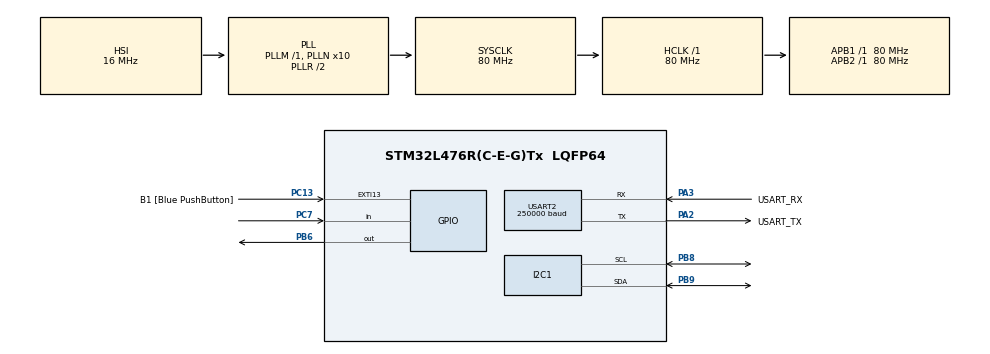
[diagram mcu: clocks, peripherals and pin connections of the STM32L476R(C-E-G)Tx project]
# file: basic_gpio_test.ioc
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I2C1.Timing=0x10D19CE4
Mcu.Family=STM32L4
Mcu.Name=STM32L476R(C-E-G)Tx
Mcu.Package=LQFP64
NVIC.PriorityGroup=NVIC_PRIORITYGROUP_4
PA13\ (JTMS-SWDIO).GPIO_Label=TMS
PA13\ (JTMS-SWDIO).Mode=Serial_Wire
PA13\ (JTMS-SWDIO).Signal=SYS_JTMS-SWDIO
PA14\ (JTCK-SWCLK).GPIO_Label=TCK
PA14\ (JTCK-SWCLK).Mode=Serial_Wire
PA14\ (JTCK-SWCLK).Signal=SYS_JTCK-SWCLK
PA2.GPIO_Label=USART_TX
PA2.GPIO_Mode=GPIO_MODE_AF_PP
PA2.GPIO_PuPd=GPIO_NOPULL
PA2.GPIO_Speed=GPIO_SPEED_FREQ_VERY_HIGH
PA2.Mode=Asynchronous
PA2.Signal=USART2_TX
PA3.GPIO_Label=USART_RX
PA3.GPIO_Mode=GPIO_MODE_AF_PP
PA3.GPIO_PuPd=GPIO_NOPULL
PA3.GPIO_Speed=GPIO_SPEED_FREQ_VERY_HIGH
PA3.Mode=Asynchronous
PA3.Signal=USART2_RX
PA5.Signal=SPI1_SCK
PA6.Signal=SPI1_MISO
PA7.Signal=SPI1_MOSI
PB3\ (JTDO-TRACESWO).GPIO_Label=SWO
PB3\ (JTDO-TRACESWO).Signal=SYS_JTDO-SWO
PB6.GPIO_PuPd=GPIO_PULLUP
PB6.Signal=GPIO_Output
PB8.Mode=I2C
PB8.Signal=I2C1_SCL
PB9.Mode=I2C
PB9.Signal=I2C1_SDA
PC13.GPIO_Label=B1 [Blue PushButton]
PC13.GPIO_ModeDefaultEXTI=GPIO_MODE_IT_FALLING
PC13.GPIO_PuPd=GPIO_NOPULL
PC13.Signal=GPXTI13
PC14-OSC32_IN\ (PC14).Mode=LSE-External-Oscillator
PC14-OSC32_IN\ (PC14).Signal=RCC_OSC32_IN
PC15-OSC32_OUT\ (PC15).Mode=LSE-External-Oscillator
PC15-OSC32_OUT\ (PC15).Signal=RCC_OSC32_OUT
PC7.Signal=GPIO_Input
PH0-OSC_IN\ (PH0).Mode=HSE-External-Oscillator
PH0-OSC_IN\ (PH0).Signal=RCC_OSC_IN
PH1-OSC_OUT\ (PH1).Mode=HSE-External-Oscillator
PH1-OSC_OUT\ (PH1).Signal=RCC_OSC_OUT
ProjectManager.HeapSize=0x200
ProjectManager.StackSize=0x400
ProjectManager.TargetToolchain=STM32CubeIDE
RCC.ADCFreq_Value=64000000
RCC.AHBFreq_Value=80000000
RCC.APB1Freq_Value=80000000
RCC.APB1TimFreq_Value=80000000
RCC.APB2Freq_Value=80000000
RCC.APB2TimFreq_Value=80000000
RCC.CortexFreq_Value=80000000
RCC.HCLKFreq_Value=80000000
RCC.HSE_VALUE=8000000
RCC.HSI_VALUE=16000000
RCC.MSI_VALUE=4000000
RCC.PLLN=10
RCC.PLLSourceVirtual=RCC_PLLSOURCE_HSI
RCC.PREFETCH_ENABLE=1
RCC.SYSCLKFreq_VALUE=80000000
RCC.SYSCLKSource=RCC_SYSCLKSOURCE_PLLCLK
RCC.USBFreq_Value=64000000
RCC.VCOOutputFreq_Value=160000000
TIM2.AutoReloadPreload=TIM_AUTORELOAD_PRELOAD_ENABLE
TIM2.Period=65535
TIM2.Prescaler=26
USART2.BaudRate=250000
USART2.VirtualMode-Asynchronous=VM_ASYNC
VP_TIM2_VS_ClockSourceINT.Mode=Internal
board=NUCLEO-L476RG

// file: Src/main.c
/* USER CODE BEGIN Header */
/**
  ******************************************************************************
  * @file           : main.c
  * @brief          : Main program body
  ******************************************************************************
  * @attention
  *
  * Copyright (c) 2026 STMicroelectronics.
  * All rights reserved.
  *
  * This software is licensed under terms that can be found in the LICENSE file
  * in the root directory of this software component.
  * If no LICENSE file comes with this software, it is provided AS-IS.
  *
  ******************************************************************************
  */
/* USER CODE END Header */
#include "main.h"

/* USER CODE BEGIN Includes */
#include <stdio.h>
/* USER CODE END Includes */

I2C_HandleTypeDef hi2c1;

TIM_HandleTypeDef htim2;

UART_HandleTypeDef huart2;

void SystemClock_Config(void);
static void MX_GPIO_Init(void);
static void MX_USART2_UART_Init(void);
static void MX_TIM2_Init(void);
static void MX_I2C1_Init(void);
/* USER CODE BEGIN PFP */
#define PUTCHAR_PROTOTYPE int __io_putchar(int ch)
/* USER CODE END PFP */

/* USER CODE BEGIN 0 */

// Function you can use to find the address of the MLX90640 currently connected
uint16_t findAddress(uint16_t);

void doEarthHorizonTest();

/* USER CODE END 0 */

int main(void)
{

  /* MCU Configuration--------------------------------------------------------*/

  /* Reset of all peripherals, Initializes the Flash interface and the Systick. */
  HAL_Init();

  /* Configure the system clock */
  SystemClock_Config();

  /* Initialize all configured peripherals */
  MX_GPIO_Init();
  MX_USART2_UART_Init();
  MX_TIM2_Init();
  MX_I2C1_Init();
  /* USER CODE BEGIN 2 */

  printf("Begin attempt.\n");

//  HAL_GPIO_WritePin(GPIOB, GPIO_PIN_6, GPIO_PIN_SET);
//
//  HAL_SPI_StateTypeDef status;
//
//  status = HAL_SPI_GetState(&hspi1);
//  printf("Status: %d\n", status);
//
//  HAL_GPIO_WritePin(GPIOB, GPIO_PIN_6, GPIO_PIN_RESET);
//
//  uint8_t address = 0x35;
//  uint8_t buffer[10] = {13, 13, 13, 13, 13, 13, 13, 13, 13, 13};
//  status = HAL_SPI_Transmit(&hspi1, &address, 1, 100);
//  printf("Status SPI Transmit: %d\n", status);
//  status = HAL_SPI_Receive(&hspi1, buffer, 1, 100);
//  printf("Status of SPI Receive: %d\n", status);
//  for(int i=0;i<10;i++) {
//	  printf("buffer[%d]=%X\n", i, buffer[i]);
//  }

  printf("End attempt.\n\n");
  /* USER CODE END 2 */

  /* Infinite loop */
  while (1)
  {
	  printf("Hello!!!!\n");
	  doEarthHorizonTest();
	  HAL_Delay(10);
  }
}

void SystemClock_Config(void)
{
  RCC_OscInitTypeDef RCC_OscInitStruct = {0};
  RCC_ClkInitTypeDef RCC_ClkInitStruct = {0};

  /** Configure the main internal regulator output voltage
  */
  if (HAL_PWREx_ControlVoltageScaling(PWR_REGULATOR_VOLTAGE_SCALE1) != HAL_OK)
  {
    Error_Handler();
  }

  /** Initializes the RCC Oscillators according to the specified parameters
  * in the RCC_OscInitTypeDef structure.
  */
  RCC_OscInitStruct.OscillatorType = RCC_OSCILLATORTYPE_HSI;
  RCC_OscInitStruct.HSIState = RCC_HSI_ON;
  RCC_OscInitStruct.HSICalibrationValue = RCC_HSICALIBRATION_DEFAULT;
  RCC_OscInitStruct.PLL.PLLState = RCC_PLL_ON;
  RCC_OscInitStruct.PLL.PLLSource = RCC_PLLSOURCE_HSI;
  RCC_OscInitStruct.PLL.PLLM = 1;
  RCC_OscInitStruct.PLL.PLLN = 10;
  RCC_OscInitStruct.PLL.PLLP = RCC_PLLP_DIV7;
  RCC_OscInitStruct.PLL.PLLQ = RCC_PLLQ_DIV2;
  RCC_OscInitStruct.PLL.PLLR = RCC_PLLR_DIV2;
  if (HAL_RCC_OscConfig(&RCC_OscInitStruct) != HAL_OK)
  {
    Error_Handler();
  }

  /** Initializes the CPU, AHB and APB buses clocks
  */
  RCC_ClkInitStruct.ClockType = RCC_CLOCKTYPE_HCLK|RCC_CLOCKTYPE_SYSCLK
                              |RCC_CLOCKTYPE_PCLK1|RCC_CLOCKTYPE_PCLK2;
  RCC_ClkInitStruct.SYSCLKSource = RCC_SYSCLKSOURCE_PLLCLK;
  RCC_ClkInitStruct.AHBCLKDivider = RCC_SYSCLK_DIV1;
  RCC_ClkInitStruct.APB1CLKDivider = RCC_HCLK_DIV1;
  RCC_ClkInitStruct.APB2CLKDivider = RCC_HCLK_DIV1;

  if (HAL_RCC_ClockConfig(&RCC_ClkInitStruct, FLASH_LATENCY_4) != HAL_OK)
  {
    Error_Handler();
  }
}

static void MX_I2C1_Init(void)
{

  hi2c1.Instance = I2C1;
  hi2c1.Init.Timing = 0x10D19CE4;
  hi2c1.Init.OwnAddress1 = 0;
  hi2c1.Init.AddressingMode = I2C_ADDRESSINGMODE_7BIT;
  hi2c1.Init.DualAddressMode = I2C_DUALADDRESS_DISABLE;
  hi2c1.Init.OwnAddress2 = 0;
  hi2c1.Init.OwnAddress2Masks = I2C_OA2_NOMASK;
  hi2c1.Init.GeneralCallMode = I2C_GENERALCALL_DISABLE;
  hi2c1.Init.NoStretchMode = I2C_NOSTRETCH_DISABLE;
  if (HAL_I2C_Init(&hi2c1) != HAL_OK)
  {
    Error_Handler();
  }

  /** Configure Analogue filter
  */
  if (HAL_I2CEx_ConfigAnalogFilter(&hi2c1, I2C_ANALOGFILTER_ENABLE) != HAL_OK)
  {
    Error_Handler();
  }

  /** Configure Digital filter
  */
  if (HAL_I2CEx_ConfigDigitalFilter(&hi2c1, 0) != HAL_OK)
  {
    Error_Handler();
  }

}

static void MX_TIM2_Init(void)
{

  TIM_ClockConfigTypeDef sClockSourceConfig = {0};
  TIM_MasterConfigTypeDef sMasterConfig = {0};

  htim2.Instance = TIM2;
  htim2.Init.Prescaler = 26;
  htim2.Init.CounterMode = TIM_COUNTERMODE_UP;
  htim2.Init.Period = 65535;
  htim2.Init.ClockDivision = TIM_CLOCKDIVISION_DIV1;
  htim2.Init.AutoReloadPreload = TIM_AUTORELOAD_PRELOAD_ENABLE;
  if (HAL_TIM_Base_Init(&htim2) != HAL_OK)
  {
    Error_Handler();
  }
  sClockSourceConfig.ClockSource = TIM_CLOCKSOURCE_INTERNAL;
  if (HAL_TIM_ConfigClockSource(&htim2, &sClockSourceConfig) != HAL_OK)
  {
    Error_Handler();
  }
  sMasterConfig.MasterOutputTrigger = TIM_TRGO_RESET;
  sMasterConfig.MasterSlaveMode = TIM_MASTERSLAVEMODE_DISABLE;
  if (HAL_TIMEx_MasterConfigSynchronization(&htim2, &sMasterConfig) != HAL_OK)
  {
    Error_Handler();
  }

}

static void MX_USART2_UART_Init(void)
{

  huart2.Instance = USART2;
  huart2.Init.BaudRate = 250000;
  huart2.Init.WordLength = UART_WORDLENGTH_8B;
  huart2.Init.StopBits = UART_STOPBITS_1;
  huart2.Init.Parity = UART_PARITY_NONE;
  huart2.Init.Mode = UART_MODE_TX_RX;
  huart2.Init.HwFlowCtl = UART_HWCONTROL_NONE;
  huart2.Init.OverSampling = UART_OVERSAMPLING_16;
  huart2.Init.OneBitSampling = UART_ONE_BIT_SAMPLE_DISABLE;
  huart2.AdvancedInit.AdvFeatureInit = UART_ADVFEATURE_NO_INIT;
  if (HAL_UART_Init(&huart2) != HAL_OK)
  {
    Error_Handler();
  }

}

static void MX_GPIO_Init(void)
{
  GPIO_InitTypeDef GPIO_InitStruct = {0};

  /* GPIO Ports Clock Enable */
  __HAL_RCC_GPIOC_CLK_ENABLE();
  __HAL_RCC_GPIOH_CLK_ENABLE();
  __HAL_RCC_GPIOA_CLK_ENABLE();
  __HAL_RCC_GPIOB_CLK_ENABLE();

  /*Configure GPIO pin Output Level */
  HAL_GPIO_WritePin(GPIOB, GPIO_PIN_6, GPIO_PIN_RESET);

  /*Configure GPIO pin : B1_Pin */
  GPIO_InitStruct.Pin = B1_Pin;
  GPIO_InitStruct.Mode = GPIO_MODE_IT_FALLING;
  GPIO_InitStruct.Pull = GPIO_NOPULL;
  HAL_GPIO_Init(B1_GPIO_Port, &GPIO_InitStruct);

  /*Configure GPIO pins : PA5 PA6 PA7 */
  GPIO_InitStruct.Pin = GPIO_PIN_5|GPIO_PIN_6|GPIO_PIN_7;
  GPIO_InitStruct.Mode = GPIO_MODE_AF_PP;
  GPIO_InitStruct.Pull = GPIO_NOPULL;
  GPIO_InitStruct.Speed = GPIO_SPEED_FREQ_VERY_HIGH;
  GPIO_InitStruct.Alternate = GPIO_AF5_SPI1;
  HAL_GPIO_Init(GPIOA, &GPIO_InitStruct);

  /*Configure GPIO pin : PC7 */
  GPIO_InitStruct.Pin = GPIO_PIN_7;
  GPIO_InitStruct.Mode = GPIO_MODE_INPUT;
  GPIO_InitStruct.Pull = GPIO_NOPULL;
  HAL_GPIO_Init(GPIOC, &GPIO_InitStruct);

  /*Configure GPIO pin : PB6 */
  GPIO_InitStruct.Pin = GPIO_PIN_6;
  GPIO_InitStruct.Mode = GPIO_MODE_OUTPUT_PP;
  GPIO_InitStruct.Pull = GPIO_PULLUP;
  GPIO_InitStruct.Speed = GPIO_SPEED_FREQ_LOW;
  HAL_GPIO_Init(GPIOB, &GPIO_InitStruct);

  /* USER CODE BEGIN MX_GPIO_Init_2 */
  HAL_GPIO_WritePin(GPIOB, GPIO_PIN_6, GPIO_PIN_RESET);
  /* USER CODE END MX_GPIO_Init_2 */
}

/* USER CODE BEGIN 4 */

void doEarthHorizonTest() {
  uint8_t start_up_check = 0;

  printf("Start of new attempt.\n");

  uint16_t address = 0x33;

  if(HAL_I2C_IsDeviceReady(&hi2c1, (address<<1), 2, 100) == HAL_OK)
	  printf("Device at %d is ready \n", address);
  else printf("No device found at %d\n", address);

  // these are diagnostic checks in case things aren't going right
  if(start_up_check) {
	  HAL_StatusTypeDef status = 3;
	  // find device address
	  for(uint8_t addr = 1; addr < 128; addr++)
	  {
		  if(HAL_I2C_IsDeviceReady(&hi2c1, (addr<<1), 2, 100) == HAL_OK)
		  {
			  printf("Found device at %d\n", addr);
		  }
		  else printf("Not at  %d\n", addr);
	  }

	  uint16_t test;
	  HAL_Delay(500);
	  int result = MLX90640_I2CRead(0x33, 0x8000, 1, &test);
	  int thingy = 0x8000;
	  if(result==0)
	  {
		  printf("Reg: %d\n", test);
	  }
	  else
	  {
		  printf("Read failed: %d\n", result);
	  }
	  for(int cnt=0; cnt<100; cnt++)
	  {
		  result = MLX90640_I2CRead(0x33, thingy, 1, &test);
			if(result==0)
			{
				printf("Value at %X is %d\n", thingy, test);
			}
			else
			{
				printf("Read failed: %d\n", result);
			}
			HAL_Delay(1);
			thingy++;
	  }

	  HAL_Delay(200);

	  // three checks to see if the device is ready
	  status = HAL_I2C_IsDeviceReady(&hi2c1, (address<<1), 2, 100);
	  printf("Device ready status 1: %d\n", status);
	  HAL_Delay(200);

	  status = HAL_I2C_IsDeviceReady(&hi2c1, (address<<1), 2, 100);
	  printf("Device ready status 2: %d\n", status);
	  HAL_Delay(200);

	  status = HAL_I2C_IsDeviceReady(&hi2c1, (address<<1), 2, 100);
	  printf("Device ready status 3: %d\n", status);
	  HAL_Delay(200);

	  if(status != HAL_OK) {
		  HAL_I2C_DeInit(&hi2c1);
		  HAL_I2C_Init(&hi2c1);
		  HAL_Delay(100);
	  }
	  HAL_Delay(500);

  }
  HAL_GPIO_WritePin(GPIOA, GPIO_PIN_5, GPIO_PIN_SET);
  // start of the real thing

  unsigned char slaveAddress = 0x33;
  static uint16_t eeMLX90640[832];
  static uint16_t mlx90640Frame[834];
  paramsMLX90640 mlx90640;
//  static float mlx90640Image[768];
  static float mlx90640To[768];
  int imagestatus;

  float TaShift = 8;
  float Ta = 0;
  float emissivity = 0.95;
  float tr =0;
//  float Vdd = 0;

  imagestatus = MLX90640_DumpEE(slaveAddress, eeMLX90640);
//  printf("Dump EE status: %d\n", imagestatus);
  imagestatus = MLX90640_ExtractParameters(eeMLX90640, &mlx90640);
//  printf("Extract parameters status: %d\n", imagestatus);
//
//  printf("Current mode: %d\n", MLX90640_GetCurMode(slaveAddress));
//
//
//  printf("\n#####\nGetting first frame.\n#####\n");

  imagestatus = MLX90640_GetFrameData(slaveAddress, mlx90640Frame);
//  printf("Get frame data status: %d\n", imagestatus);
  Ta = MLX90640_GetTa(mlx90640Frame, &mlx90640);
//  printf("Ambient temperature Ta = %f\n", Ta);
  tr = Ta - TaShift;
//  Vdd = MLX90640_GetVdd(mlx90640Frame, &mlx90640);
//  printf("Vdd: %f\n", Vdd);

  MLX90640_CalculateTo(mlx90640Frame, &mlx90640, emissivity, tr, mlx90640To);
  // MLX90640_GetImage(mlx90640Frame, &mlx90640, mlx90640Image);

//  printf("\nStart of image CSV\n\n");
//
//  for(int i=0; i<768;i++) {
//	  if(mlx90640To[i]!=0)
//		  printf("%f", mlx90640To[i]);
//	  if(i>5 && i%32==31)
//		  printf("\n");
//	  else
//		  printf(",");
////	  printf("We are at i=%d\n", i);
//  }

//  printf("\n#####\nGetting second frame.\n#####\n");

  imagestatus = MLX90640_GetFrameData(slaveAddress, mlx90640Frame);
//  printf("Get frame data status: %d\n", imagestatus);
  Ta = MLX90640_GetTa(mlx90640Frame, &mlx90640);
//  printf("Ambient temperature Ta = %f\n", Ta);
//  tr = Ta - TaShift;
//  Vdd = MLX90640_GetVdd(mlx90640Frame, &mlx90640);
//  printf("Vdd: %f\n", Vdd);

  MLX90640_CalculateTo(mlx90640Frame, &mlx90640, emissivity, tr, mlx90640To);
  // MLX90640_GetImage(mlx90640Frame, &mlx90640, mlx90640Image);

  printf("\nStart of full image CSV\n");

  for(int i=0; i<768;i++) {
	  if(mlx90640To[i]!=0)
		  printf("%f", mlx90640To[i]);
	  if(i>5 && i%32==31)
		  printf("\n");
	  else
		  printf(",");
//	  printf("We are at i=%d\n", i);
  }
  printf("End of full image CSV\n");

//  printf("End attempt.\n\n");
}

PUTCHAR_PROTOTYPE
{
  /* Place your implementation of fputc here */
  /* e.g. write a character to the USART1 and Loop until the end of transmission */
  HAL_UART_Transmit(&huart2, (uint8_t *)&ch, 1, 0xFFFF);

  return ch;
}
/* USER CODE END 4 */

void Error_Handler(void)
{
  __disable_irq();
  while (1)
  {
  }
}
